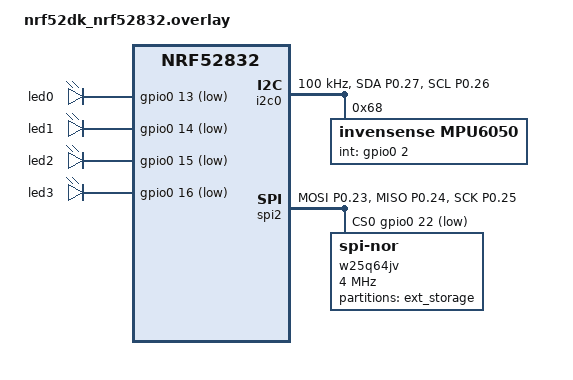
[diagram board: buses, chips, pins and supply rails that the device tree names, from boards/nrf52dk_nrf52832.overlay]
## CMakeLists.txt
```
# SPDX-License-Identifier: Apache-2.0

cmake_minimum_required(VERSION 3.20.0)
find_package(Zephyr REQUIRED HINTS $ENV{ZEPHYR_BASE})
project(nRF)

# ── Production sources (always compiled) ──────────────────────────────
target_sources(app PRIVATE
    src/main.c
    src/flash_storage/flash_storage.c
    src/imu/imu.c
    src/shock_detector/shock_detector.c
    src/shock_log/shock_log.c
    src/ble_service/ble_service.c
)

target_include_directories(app PRIVATE src src/tests)

# ── Bringup self-test toggle ──────────────────────────────────────────
set(BRINGUP_SELFTEST ON)

if(BRINGUP_SELFTEST)
    target_sources(app PRIVATE
        src/tests/flash_test.c
        src/tests/imu_test.c
        src/tests/shock_test.c
        src/tests/shock_log_test.c
        src/tests/ble_test.c
    )
    zephyr_compile_definitions(CONFIG_BRINGUP_SELFTEST)
    message(STATUS "Bringup self-test: ENABLED")
else()
    message(STATUS "Bringup self-test: DISABLED (production mode)")
endif()
```

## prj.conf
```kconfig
# SPI + I2C buses
CONFIG_SPI=y
CONFIG_I2C=y

# Sensors
CONFIG_SENSOR=y
CONFIG_MPU6050=y
CONFIG_MPU6050_TRIGGER_GLOBAL_THREAD=y
# The MPU6050 driver uses CONFIG_SENSOR_LOG_LEVEL.
# Setting to OFF silences transient I2C fetch errors during vigorous shaking.
CONFIG_SENSOR_LOG_LEVEL_OFF=y

# Floating point — needed for shock magnitude calculation (sqrt)
CONFIG_FPU=y
CONFIG_FPU_SHARING=y

# Flash
CONFIG_FLASH=y
CONFIG_FLASH_MAP=y
CONFIG_FLASH_PAGE_LAYOUT=y
CONFIG_FLASH_JESD216_API=y
CONFIG_SPI_NOR_SFDP_MINIMAL=y
# CONFIG_SPI_NOR_SFDP_RUNTIME=y

# Logging — RTT only, application level only
CONFIG_LOG=y
CONFIG_LOG_DEFAULT_LEVEL=2
CONFIG_LOG_MAX_LEVEL=3
CONFIG_USE_SEGGER_RTT=y
CONFIG_RTT_CONSOLE=y
CONFIG_LOG_BACKEND_RTT=y
CONFIG_UART_CONSOLE=n
CONFIG_LOG_BACKEND_UART=n
CONFIG_LOG_PROCESS_THREAD_STARTUP_DELAY_MS=500

# Increase RTT buffer so nothing gets dropped
CONFIG_LOG_BUFFER_SIZE=4096
CONFIG_SEGGER_RTT_BUFFER_SIZE_UP=4096

# ── Stack sizes ───────────────────────────────────────────────────────
# LittleFS mount/format requires significant stack depth (~3KB minimum).
# Main thread calls shock_log_init() → fs_mount() → LittleFS format.
CONFIG_MAIN_STACK_SIZE=4096
# System workqueue runs MPU-6050 trigger callbacks
CONFIG_SYSTEM_WORKQUEUE_STACK_SIZE=2048
CONFIG_BT=y
CONFIG_BT_PERIPHERAL=y
CONFIG_BT_DEVICE_NAME="AssetTracker"
CONFIG_BT_DEVICE_APPEARANCE=0
CONFIG_BT_MAX_CONN=1
CONFIG_BT_GATT_DYNAMIC_DB=n

# ATT / GATT tuning
CONFIG_BT_ATT_PREPARE_COUNT=0
CONFIG_BT_L2CAP_TX_BUF_COUNT=6

# BT logging — silent in production
CONFIG_BT_LOG_LEVEL_OFF=y

# ── Filesystem (LittleFS on external flash) ───────────────────────────
CONFIG_FILE_SYSTEM=y
CONFIG_FILE_SYSTEM_LITTLEFS=y
CONFIG_FS_LOG_LEVEL_ERR=y
```

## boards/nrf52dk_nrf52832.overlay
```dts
/* SPDX-License-Identifier: Apache-2.0 */

/* Tell NCS Partition Manager about the external flash device.
 * This makes FLASH_AREA_ID() work for external flash partitions.
 */
/ {
    chosen {
        nordic,pm-ext-flash = &w25q64jv;
    };
};

/* Remap LEDs away from SPI CS pins */
&led0 {
    gpios = <&gpio0 13 GPIO_ACTIVE_LOW>;
};

&led1 {
    gpios = <&gpio0 14 GPIO_ACTIVE_LOW>;
};

&led2 {
    gpios = <&gpio0 15 GPIO_ACTIVE_LOW>;
};

&led3 {
    gpios = <&gpio0 16 GPIO_ACTIVE_LOW>;
};

/* Disable spi1 so it cannot contend for pins/instance */
&spi1 {
    status = "disabled";
};

&pinctrl {
    /* I2C0 — MPU-6050
     * SDA → P0.27   SCL → P0.26
     */
    i2c0_default: i2c0_default {
        group1 {
            psels = <NRF_PSEL(TWIM_SDA, 0, 27)>,
                    <NRF_PSEL(TWIM_SCL, 0, 26)>;
        };
    };

    i2c0_sleep: i2c0_sleep {
        group1 {
            psels = <NRF_PSEL(TWIM_SDA, 0, 27)>,
                    <NRF_PSEL(TWIM_SCL, 0, 26)>;
            low-power-enable;
        };
    };

    /* SPI2 — W25Q64
     * MOSI → P0.23   MISO → P0.24   SCK → P0.25   CS → P0.22
     */
    spi2_default: spi2_default {
        group1 {
            psels = <NRF_PSEL(SPIM_MOSI, 0, 23)>,
                    <NRF_PSEL(SPIM_MISO, 0, 24)>,
                    <NRF_PSEL(SPIM_SCK,  0, 25)>;
        };
    };

    spi2_sleep: spi2_sleep {
        group1 {
            psels = <NRF_PSEL(SPIM_MOSI, 0, 23)>,
                    <NRF_PSEL(SPIM_MISO, 0, 24)>,
                    <NRF_PSEL(SPIM_SCK,  0, 25)>;
            low-power-enable;
        };
    };
};

/* I2C0 — MPU-6050 at address 0x68 */
&i2c0 {
    status = "okay";
    pinctrl-0 = <&i2c0_default>;
    pinctrl-1 = <&i2c0_sleep>;
    pinctrl-names = "default", "sleep";
    clock-frequency = <I2C_BITRATE_STANDARD>;

    mpu6050@68 {
        compatible = "invensense,mpu6050";
        reg = <0x68>;
        int-gpios = <&gpio0 2 GPIO_ACTIVE_HIGH>;
        accel-fs = <16>;    /* ±16g — measures up to 157 m/s², handles drops/bangs */
        gyro-fs = <2000>;   /* ±2000°/s — handles vigorous rotation during impacts */
    };
};

/* SPI2 — W25Q64 flash, CS on P0.22 */
&spi2 {
    compatible = "nordic,nrf-spim";
    status = "okay";
    pinctrl-0 = <&spi2_default>;
    pinctrl-1 = <&spi2_sleep>;
    pinctrl-names = "default", "sleep";
    cs-gpios = <&gpio0 22 GPIO_ACTIVE_LOW>;

    w25q64jv: w25q64jv@0 {
        compatible = "jedec,spi-nor";
        reg = <0>;
        spi-max-frequency = <4000000>;
        size = <DT_SIZE_M(64)>;
        jedec-id = [ef 40 17];
        t-enter-dpd = <3000>;
        t-exit-dpd = <30000>;

        partitions {
            compatible = "fixed-partitions";
            #address-cells = <1>;
            #size-cells = <1>;

            ext_flash_partition: partition@0 {
                label = "ext_storage";
                reg = <0x00000000 0x00800000>;
            };
        };
    };
};
```

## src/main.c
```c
#include <zephyr/kernel.h>
#include <zephyr/logging/log.h>

#include "flash_storage/flash_storage.h"
#include "imu/imu.h"
#include "shock_detector/shock_detector.h"
#include "shock_log/shock_log.h"
#include "ble_service/ble_service.h"

#if defined(CONFIG_BRINGUP_SELFTEST)
#include "flash_test.h"
#include "imu_test.h"
#include "shock_test.h"
#include "shock_log_test.h"
#include "ble_test.h"
#endif

LOG_MODULE_REGISTER(main, LOG_LEVEL_INF);

int main(void)
{
	LOG_INF("=============================");
	LOG_INF("  Asset Tracker — Bringup");
	LOG_INF("=============================");
	k_msleep(200);

	/* ── Initialize subsystems in dependency order ── */
	imu_init();

	if (flash_storage_init() != 0)
	{
		LOG_ERR("Flash storage init failed — halting");
		while (1)
		{
			k_msleep(1000);
		}
	}

	if (shock_log_init() != 0)
	{
		LOG_ERR("Shock log init failed — halting");
		while (1)
		{
			k_msleep(1000);
		}
	}

	if (shock_detector_init(SHOCK_THRESHOLD_DEFAULT_MS2) != 0)
	{
		LOG_ERR("Shock detector init failed — halting");
		while (1)
		{
			k_msleep(1000);
		}
	}

	if (ble_service_init() != 0)
	{
		LOG_ERR("BLE service init failed — halting");
		while (1)
		{
			k_msleep(1000);
		}
	}

	/* ── Bringup self-tests (compiled out in production) ── */
#if defined(CONFIG_BRINGUP_SELFTEST)
	LOG_INF("--- Bringup Self-Tests ---");
	run_imu_test();
	run_flash_selftest();
	run_shock_log_test();
	run_shock_test();
	run_ble_test();
#endif

	LOG_INF("-----------------------------");
	LOG_INF("Bringup complete.");

	k_msleep(1000);
	return 0;
}
```
